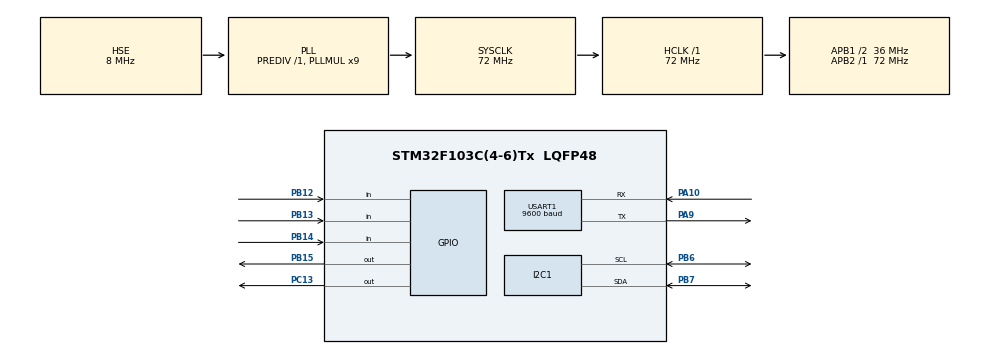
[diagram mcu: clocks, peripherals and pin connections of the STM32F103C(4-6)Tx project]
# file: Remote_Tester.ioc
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I2C1.I2C_Mode=I2C_Fast
Mcu.Family=STM32F1
Mcu.Name=STM32F103C(4-6)Tx
Mcu.Package=LQFP48
NVIC.PriorityGroup=NVIC_PRIORITYGROUP_4
NVIC.USART1_IRQn=true\:0\:0\:false\:false\:true\:true\:true\:true
PA10.Mode=Asynchronous
PA10.Signal=USART1_RX
PA13.Mode=Serial_Wire
PA13.Signal=SYS_JTMS-SWDIO
PA14.Mode=Serial_Wire
PA14.Signal=SYS_JTCK-SWCLK
PA9.Mode=Asynchronous
PA9.Signal=USART1_TX
PB12.Signal=GPIO_Input
PB13.Signal=GPIO_Input
PB14.Signal=GPIO_Input
PB15.Signal=GPIO_Output
PB6.Mode=I2C
PB6.Signal=I2C1_SCL
PB7.Mode=I2C
PB7.Signal=I2C1_SDA
PC13-TAMPER-RTC.Signal=GPIO_Output
PC14-OSC32_IN.Mode=LSE-External-Oscillator
PC14-OSC32_IN.Signal=RCC_OSC32_IN
PC15-OSC32_OUT.Mode=LSE-External-Oscillator
PC15-OSC32_OUT.Signal=RCC_OSC32_OUT
PD0-OSC_IN.Mode=HSE-External-Oscillator
PD0-OSC_IN.Signal=RCC_OSC_IN
PD1-OSC_OUT.Mode=HSE-External-Oscillator
PD1-OSC_OUT.Signal=RCC_OSC_OUT
ProjectManager.HeapSize=0x200
ProjectManager.StackSize=0x400
ProjectManager.TargetToolchain=STM32CubeIDE
RCC.AHBFreq_Value=72000000
RCC.APB1CLKDivider=RCC_HCLK_DIV2
RCC.APB1Freq_Value=36000000
RCC.APB1TimFreq_Value=72000000
RCC.APB2Freq_Value=72000000
RCC.APB2TimFreq_Value=72000000
RCC.HCLKFreq_Value=72000000
RCC.PLLMUL=RCC_PLL_MUL9
RCC.PLLSourceVirtual=RCC_PLLSOURCE_HSE
RCC.RTCClockSelection=RCC_RTCCLKSOURCE_LSE
RCC.SYSCLKFreq_VALUE=72000000
RCC.SYSCLKSource=RCC_SYSCLKSOURCE_PLLCLK
RCC.USBFreq_Value=72000000
RTC.Format=RTC_FORMAT_BIN
USART1.BaudRate=9600
USART1.VirtualMode=VM_ASYNC
VP_CRC_VS_CRC.Mode=CRC_Activate
VP_RTC_No_RTC_Output.Mode=RTC_OUT_NO
VP_RTC_VS_RTC_Activate.Mode=RTC_Enabled
VP_RTC_VS_RTC_Calendar.Mode=RTC_Calendar
board=custom

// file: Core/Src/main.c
/* USER CODE BEGIN Header */
/**
  ******************************************************************************
  * @file           : main.c
  * @brief          : Main program body
  ******************************************************************************
  * @attention
  *
  * Copyright (c) 2023 STMicroelectronics.
  * All rights reserved.
  *
  * This software is licensed under terms that can be found in the LICENSE file
  * in the root directory of this software component.
  * If no LICENSE file comes with this software, it is provided AS-IS.
  *
  ******************************************************************************
  */
/* USER CODE END Header */
#include "main.h"

/* USER CODE BEGIN Includes */
#include "ssd1306_images.h"
/* USER CODE END Includes */

/* USER CODE BEGIN PD */
#define REG_SET_PRESS                BKP->DR1
#define REG_SET_MAXERR               BKP->DR2
#define REG_CUR_PRESS                BKP->DR3
#define REG_CUR_ERR                  BKP->DR4

#define VERTICAL_LINE_X             110
#define HORIZONTAL_LINE_Y           19
#define X_ICON_BEGIN           		112
#define Y_ICON_BEGIN          		8
#define DEFAULT_PRESS_COUNTER  		10000
#define DEFAULT_MAX_ERROR_COUNT     DEFAULT_PRESS_COUNTER / 100

#define LED_write(state)            HAL_GPIO_WritePin(GPIOC, GPIO_PIN_13, !state);
/* USER CODE END PD */

CRC_HandleTypeDef hcrc;

I2C_HandleTypeDef hi2c1;

RTC_HandleTypeDef hrtc;

UART_HandleTypeDef huart1;

/* USER CODE BEGIN PV */
TESTER_STATE testerState;
TESTER_DATA gTesterCurData;
TESTER_DATA gTesterPrevData;

RTC_TimeTypeDef sTime = {0};
RTC_DateTypeDef DateToUpdate = {0};
ERROR_LOG errorLog[DEFAULT_MAX_ERROR_COUNT];

char trans_str[64] = {0,};
char recieve_str[8] = {0,};
char request_form[8] = "1";

uint32_t res_addr = 0;
uint32_t dataInSeconds = 0;
uint16_t buffsize;
/* USER CODE END PV */

void SystemClock_Config(void);
static void MX_GPIO_Init(void);
static void MX_I2C1_Init(void);
static void MX_USART1_UART_Init(void);
static void MX_RTC_Init(void);
static void MX_CRC_Init(void);
/* USER CODE BEGIN PFP */
static void BKP_Init(void);

void clear_text(uint8_t x, uint8_t y, uint8_t lenght, FontDef font);
void clear_icon(void);
void setup_label(LABEL *Label, uint8_t x, uint8_t y, char str[]);
void ssd1306_WriteUint(LABEL *Label, uint16_t val, FontDef font);
void DrawResetScreen(void);
void DrawLinesAndLabels(LABEL *LabelClick, LABEL *LabelError);
void CreateErrorLog(ERROR_LOG *er);
void UartSendErrorLog(ERROR_LOG *er);
void configRegSave(void);
/* USER CODE END PFP */

int main(void)
{

  /* MCU Configuration--------------------------------------------------------*/

  /* Reset of all peripherals, Initializes the Flash interface and the Systick. */
  HAL_Init();

  /* Configure the system clock */
  SystemClock_Config();

  /* USER CODE BEGIN SysInit */
	uint16_t test;   //FIXME
	uint8_t i;
	uint32_t waitCounter;
	uint8_t needToRedrawIcon = 1;

	uint8_t LongPressCount = 0;
	uint8_t _isreset = 0 ;

  /* USER CODE END SysInit */

  /* Initialize all configured peripherals */
  MX_GPIO_Init();
  MX_I2C1_Init();
  MX_USART1_UART_Init();
  MX_RTC_Init();
  MX_CRC_Init();
  /* USER CODE BEGIN 2 */
	Buttons_Init();
	ssd1306_Init();
	BKP_Init();

	gTesterCurData.settings.startPressCount = REG_SET_PRESS;
	gTesterCurData.settings.maxErrorCount = REG_SET_MAXERR;
//	gTesterCurData.settings.maxErrorCount = DEFAULT_MAX_ERROR_COUNT;
//	gTesterCurData.settings.startPressCount = DEFAULT_PRESS_COUNTER;
	//	configRegSave();

	//	gTesterCurData.status.pressCount = gTesterCurData.settings.startPressCount;
	gTesterCurData.status.pressCount = REG_CUR_PRESS;
	gTesterCurData.status.errorCount = REG_CUR_ERR;
	if (gTesterCurData.status.errorCount != 0){
		  buffsize = gTesterCurData.status.errorCount*4 + 1;
		  res_addr = flash_search_adress(STARTADDR, buffsize * DATAWIDTH);
		  myBuf_t rdata[buffsize];
		  read_last_data_in_flash(rdata, buffsize);
		  for (i = 0; i < gTesterCurData.status.errorCount; i++){
			  errorLog[i].failedPressNumber = rdata[i * 4];
			  errorLog[i].errorTime.Hours = rdata[(i * 4) + 1];
			  errorLog[i].errorTime.Minutes = rdata[(i * 4) + 2];
			  errorLog[i].errorTime.Seconds = rdata[(i * 4) + 3];
		  }
	}
	if (gTesterCurData.status.errorCount > gTesterCurData.settings.maxErrorCount)
		testerState = STATE_FAILURE;
	else
		testerState = (gTesterCurData.status.pressCount == gTesterCurData.settings.startPressCount ? STATE_CONFIG : STATE_PAUSE);

	HAL_GPIO_WritePin(GPIOB, GPIO_PIN_15, RESET);

	LABEL label_clicks;
	LABEL label_clickCount;
	LABEL label_errors;
	LABEL label_errorCount;

	setup_label(&label_clicks, 0, 6, "clicks");
	setup_label(&label_errors, 0, 23, "errors:");
	setup_label(&label_clickCount, 42, 0, "not set");
	setup_label(&label_errorCount, 42, 22, "not set");

	LED_write(0);
//	HAL_UART_Receive_IT(&huart1, (uint8_t*)&recieve_str, 1);
	HAL_RTC_GetDateFromRegister(&hrtc, &dataInSeconds);
	HAL_RTC_GetTime(&hrtc, &sTime, dataInSeconds, RTC_FORMAT_BIN); // RTC_FORMAT_BIN , RTC_FORMAT_BCD
	HAL_RTC_GetDate(&hrtc, &DateToUpdate, dataInSeconds, RTC_FORMAT_BIN);
  /* USER CODE END 2 */

  /* Infinite loop */
  /* USER CODE BEGIN WHILE */
  while (1)
  {
	  switch(testerState){
	  	  case STATE_CONFIG:
	  		  if(needToRedrawIcon){
	  			  needToRedrawIcon = 0;

	  			  DrawLinesAndLabels(&label_clicks, &label_errors);
	  			  ssd1306_WriteUint(&label_clickCount, gTesterCurData.status.pressCount, Font_11x18);
	  			  ssd1306_WriteUint(&label_errorCount, gTesterCurData.status.errorCount, Font_6x8);
	  			  ssd1306_DrawBitmap(X_ICON_BEGIN, Y_ICON_BEGIN, CONFIG_IMG, CONFIG_IMG_WIDTH, CONFIG_IMG_HEIGHT, White);
				  ssd1306_UpdateScreen();
	  		  }
	  		  break;
	  	  case STATE_PRESS:
	  		  if(needToRedrawIcon){
	  			  needToRedrawIcon = 0;
	  			  clear_icon();
	  			  ssd1306_UpdateScreen();
	  		  }
	  		if (gTesterCurData.status.pressCount != 0){
				HAL_GPIO_WritePin(GPIOB, GPIO_PIN_15, SET);   //Activating press finger
				testerState = STATE_WAIT;
				waitCounter = HAL_GetTick();
	  		}
	  		else{
	  			testerState = STATE_FINISH;
	  			break;
	  		}

	  		  HAL_Delay(10);
	  //		  break;
	  	  case STATE_WAIT:

	  		  if (HAL_GPIO_ReadPin(GPIOB, GPIO_PIN_14) != SET){
			  	  if((HAL_GetTick() - waitCounter) > 1000) // интервал  1сек
			  	  {
			  		  //Finger aren't working correctly
			  		  //Hardware error => stops cycle
			  		  snprintf(trans_str, 63, "Finger out of order");
			  		  HAL_UART_Transmit(&huart1, (uint8_t*)trans_str, strlen(trans_str), 1000);
			  		  testerState = STATE_CONFIG;
			  		  needToRedrawIcon = 1;
			  	  }
	  		  }
			  else{
				  if(HAL_GPIO_ReadPin(GPIOB, GPIO_PIN_13) != SET){  //FIXME: В итогой версии != RESET, т.к. нажатие будет прижимать линию к земле
					  LED_write(1);
					  if ((HAL_GetTick() - waitCounter) > 1200) // интервал  1,2сек
					  {
						  //Finger working correctly
						  //No response from button
						  //Register error and move on
						  LED_write(0);
						  snprintf(trans_str, 63, "No response from button\n\r");
						  //testing purpose only
						  HAL_RTC_GetTime(&hrtc, &sTime, dataInSeconds, RTC_FORMAT_BIN); // RTC_FORMAT_BIN , RTC_FORMAT_BCD
						   snprintf(trans_str, 63, "Time %d:%d:%d\n", sTime.Hours, sTime.Minutes, sTime.Seconds);
						   HAL_UART_Transmit(&huart1, (uint8_t*)trans_str, strlen(trans_str), 1000);

						   HAL_RTC_GetDate(&hrtc, &DateToUpdate, dataInSeconds, RTC_FORMAT_BIN);
						   snprintf(trans_str, 63, "Date %d-%d-20%d\n", DateToUpdate.Date, DateToUpdate.Month, DateToUpdate.Year);
						   HAL_UART_Transmit(&huart1, (uint8_t*)trans_str, strlen(trans_str), 1000);
						  //end of test
						  HAL_UART_Transmit(&huart1, (uint8_t*)trans_str, strlen(trans_str), 1000);
						  CreateErrorLog(&errorLog[0]);
						  UartSendErrorLog(&errorLog[0]);

						  if (gTesterCurData.status.errorCount > gTesterCurData.settings.maxErrorCount){
							  LED_write(0);
							  testerState = STATE_FAILURE;
							  needToRedrawIcon = 1;
						  }
						  else
							  testerState = STATE_PRESS;
					  }
				  }
				  else{
					  LED_write(0);
					  gTesterCurData.status.pressCount--;
					  HAL_GPIO_WritePin(GPIOB, GPIO_PIN_15, RESET);
					  testerState = STATE_PRESS;
					  HAL_Delay(10);
				  }
			  }

	  		  break;
	  	  case STATE_PAUSE:
	  		  if(needToRedrawIcon){
				needToRedrawIcon = 0;
				DrawLinesAndLabels(&label_clicks, &label_errors);
				ssd1306_WriteUint(&label_clickCount, gTesterCurData.status.pressCount, Font_11x18);
				ssd1306_WriteUint(&label_errorCount, gTesterCurData.status.errorCount, Font_6x8);
				ssd1306_DrawBitmap(X_ICON_BEGIN + 3, Y_ICON_BEGIN, PAUSE_IMG, PAUSE_IMG_WIDTH, PAUSE_IMG_HEIGHT, White);
				ssd1306_UpdateScreen();
	  		  }
	  		  HAL_Delay(1);
	  		  break;

	  	  case STATE_FINISH:
	  		  HAL_Delay(1);
	  		  break;

	  	  case STATE_FAILURE:
	  		  if (needToRedrawIcon)
	  		  {
	  			memcpy(&gTesterPrevData.status, &gTesterCurData.status, sizeof(gTesterPrevData.status));
	  			ssd1306_Fill(Black);
				ssd1306_DrawBitmap(X_ICON_BEGIN, Y_ICON_BEGIN, ALERT_IMG, ALERT_IMG_WIDTH, RESET_IMG_HEIGHT, White);
				ssd1306_SetCursor(10, 8);
				ssd1306_WriteString("Error", Font_11x18, White);
				ssd1306_UpdateScreen();
				needToRedrawIcon = 0;

				waitCounter = HAL_GetTick();
	  		  }
	  		  else
	  			  HAL_Delay(1);
	  		  break;

	  	  };

	  //	  HAL_GPIO_TogglePin(GPIOA, GPIO_PIN_1);
	  	  if (testerState != STATE_CONFIG){
	  		  if(gButtons.btnOk.click && testerState != STATE_FAILURE){
	  			  testerState = (testerState == STATE_PAUSE ? STATE_PRESS : STATE_PAUSE);
	  			  needToRedrawIcon = 1;
	  		  }
	  	  }
	  	  else if(gButtons.btnOk.click){
	  		  testerState = STATE_PRESS;
	  		  needToRedrawIcon = 1;
	  		  REG_SET_PRESS = gTesterCurData.settings.startPressCount;
	  		  REG_SET_MAXERR = gTesterCurData.settings.maxErrorCount;
	  	  }

		if (gButtons.btnOk.longPress && !_isreset){

			if(LongPressCount == 0)
			{
				testerState = STATE_PAUSE;
				DrawResetScreen();
				waitCounter = HAL_GetTick();
				LongPressCount++;
			}

			if ((HAL_GetTick() - waitCounter) > 500) // интервал  0,5сек
			{
				ssd1306_FillRectangle(10, 8, 10 + (int)(LongPressCount * 15), 16, White);
			    LongPressCount++;
			    waitCounter = HAL_GetTick();
//				ssd1306_FillRectangle(10, 8, 10 + (int)(LongPressCount - 1) * 15, 16, White);
				ssd1306_UpdateScreen();
			}
			if(LongPressCount == 6){
				testerState = STATE_CONFIG;
				needToRedrawIcon = 1;
				gTesterCurData.status.pressCount = gTesterCurData.settings.startPressCount;
				gTesterCurData.status.errorCount = 0;
				gTesterPrevData.val = 0;

				_isreset = 1;
			}
		}
		else if(gButtons.btnOk.longPressEnd){
			LongPressCount = 0;
			if(_isreset)
				_isreset = 0;
			else{
				needToRedrawIcon = 1;
				if (gTesterCurData.status.errorCount > gTesterCurData.settings.maxErrorCount){
					testerState = STATE_FAILURE;
				}
				else{
					testerState = STATE_PAUSE;
					DrawLinesAndLabels(&label_clicks, &label_errors);
					ssd1306_WriteUint(&label_clickCount, gTesterCurData.status.pressCount, Font_11x18);
				    ssd1306_WriteUint(&label_errorCount, gTesterCurData.status.errorCount, Font_6x8);

				}
			}
		}
		else if(gTesterCurData.val != gTesterPrevData.val){
			HAL_RTC_GetTime(&hrtc, &sTime, dataInSeconds, RTC_FORMAT_BIN); // RTC_FORMAT_BIN , RTC_FORMAT_BCD
			HAL_RTC_GetDate(&hrtc, &DateToUpdate, dataInSeconds, RTC_FORMAT_BIN);
			snprintf(trans_str, 63, "Time %d:%d:%d\n\r", sTime.Hours, sTime.Minutes, sTime.Seconds);
			HAL_UART_Transmit(&huart1, (uint8_t*)trans_str, strlen(trans_str), 1000);

			snprintf(trans_str, 63, "Date %d-%d-20%d\n\n\r", DateToUpdate.Date, DateToUpdate.Month, DateToUpdate.Year);
			HAL_UART_Transmit(&huart1, (uint8_t*)trans_str, strlen(trans_str), 1000);

			REG_CUR_PRESS = gTesterCurData.status.pressCount;
			REG_CUR_ERR = gTesterCurData.status.errorCount;

			memcpy(&gTesterPrevData.status, &gTesterCurData.status, sizeof(gTesterPrevData.status));

			ssd1306_WriteUint(&label_clickCount, gTesterCurData.status.pressCount, Font_11x18);
			ssd1306_WriteUint(&label_errorCount, gTesterCurData.status.errorCount, Font_6x8);

//			ssd1306_WriteString(trans_str, Font_6x8, White);
//			snprintf(trans_str, 63, "clicks %d  errors %d\n\r", gTesterCurData.status.pressCount, gTesterCurData.status.errorCount);
//			HAL_UART_Transmit(&huart1, (uint8_t*)trans_str, strlen(trans_str), 1000);
//			HAL_Delay(100);
			ssd1306_UpdateScreen();
	  	  }

		Buttons_Task();

    /* USER CODE END WHILE */

  }
}

void SystemClock_Config(void)
{
  RCC_OscInitTypeDef RCC_OscInitStruct = {0};
  RCC_ClkInitTypeDef RCC_ClkInitStruct = {0};
  RCC_PeriphCLKInitTypeDef PeriphClkInit = {0};

  /** Initializes the RCC Oscillators according to the specified parameters
  * in the RCC_OscInitTypeDef structure.
  */
  RCC_OscInitStruct.OscillatorType = RCC_OSCILLATORTYPE_HSE|RCC_OSCILLATORTYPE_LSE;
  RCC_OscInitStruct.HSEState = RCC_HSE_ON;
  RCC_OscInitStruct.HSEPredivValue = RCC_HSE_PREDIV_DIV1;
  RCC_OscInitStruct.LSEState = RCC_LSE_ON;
  RCC_OscInitStruct.HSIState = RCC_HSI_ON;
  RCC_OscInitStruct.PLL.PLLState = RCC_PLL_ON;
  RCC_OscInitStruct.PLL.PLLSource = RCC_PLLSOURCE_HSE;
  RCC_OscInitStruct.PLL.PLLMUL = RCC_PLL_MUL9;
  if (HAL_RCC_OscConfig(&RCC_OscInitStruct) != HAL_OK)
  {
    Error_Handler();
  }

  /** Initializes the CPU, AHB and APB buses clocks
  */
  RCC_ClkInitStruct.ClockType = RCC_CLOCKTYPE_HCLK|RCC_CLOCKTYPE_SYSCLK
                              |RCC_CLOCKTYPE_PCLK1|RCC_CLOCKTYPE_PCLK2;
  RCC_ClkInitStruct.SYSCLKSource = RCC_SYSCLKSOURCE_PLLCLK;
  RCC_ClkInitStruct.AHBCLKDivider = RCC_SYSCLK_DIV1;
  RCC_ClkInitStruct.APB1CLKDivider = RCC_HCLK_DIV2;
  RCC_ClkInitStruct.APB2CLKDivider = RCC_HCLK_DIV1;

  if (HAL_RCC_ClockConfig(&RCC_ClkInitStruct, FLASH_LATENCY_2) != HAL_OK)
  {
    Error_Handler();
  }
  PeriphClkInit.PeriphClockSelection = RCC_PERIPHCLK_RTC;
  PeriphClkInit.RTCClockSelection = RCC_RTCCLKSOURCE_LSE;
  if (HAL_RCCEx_PeriphCLKConfig(&PeriphClkInit) != HAL_OK)
  {
    Error_Handler();
  }
}

static void MX_CRC_Init(void)
{

  hcrc.Instance = CRC;
  if (HAL_CRC_Init(&hcrc) != HAL_OK)
  {
    Error_Handler();
  }

}

static void MX_I2C1_Init(void)
{

  hi2c1.Instance = I2C1;
  hi2c1.Init.ClockSpeed = 400000;
  hi2c1.Init.DutyCycle = I2C_DUTYCYCLE_2;
  hi2c1.Init.OwnAddress1 = 0;
  hi2c1.Init.AddressingMode = I2C_ADDRESSINGMODE_7BIT;
  hi2c1.Init.DualAddressMode = I2C_DUALADDRESS_DISABLE;
  hi2c1.Init.OwnAddress2 = 0;
  hi2c1.Init.GeneralCallMode = I2C_GENERALCALL_DISABLE;
  hi2c1.Init.NoStretchMode = I2C_NOSTRETCH_DISABLE;
  if (HAL_I2C_Init(&hi2c1) != HAL_OK)
  {
    Error_Handler();
  }

}

static void MX_RTC_Init(void)
{

//  RTC_TimeTypeDef sTime = {0};
//  RTC_DateTypeDef DateToUpdate = {0};

  /** Initialize RTC Only
  */
  hrtc.Instance = RTC;
  hrtc.Init.AsynchPrediv = RTC_AUTO_1_SECOND;
  hrtc.Init.OutPut = RTC_OUTPUTSOURCE_NONE;
  if (HAL_RTC_Init(&hrtc) != HAL_OK)
  {
    Error_Handler();
  }

  /** Initialize RTC and set the Time and Date
  */
  sTime.Hours = 22;
  sTime.Minutes = 51;
  sTime.Seconds = 0;

//  if (HAL_RTC_SetTime(&hrtc, &sTime, RTC_FORMAT_BIN) != HAL_OK)
//  {
//    Error_Handler();
//  }
  DateToUpdate.WeekDay = RTC_WEEKDAY_MONDAY;
  DateToUpdate.Month = RTC_MONTH_AUGUST;
  DateToUpdate.Date = 1;
  DateToUpdate.Year = 23;

//  if (HAL_RTC_SetDateToRegister(&hrtc, &DateToUpdate, RTC_FORMAT_BIN) != HAL_OK)
//  {
//    Error_Handler();
//  }

}

static void MX_USART1_UART_Init(void)
{

  huart1.Instance = USART1;
  huart1.Init.BaudRate = 9600;
  huart1.Init.WordLength = UART_WORDLENGTH_8B;
  huart1.Init.StopBits = UART_STOPBITS_1;
  huart1.Init.Parity = UART_PARITY_NONE;
  huart1.Init.Mode = UART_MODE_TX_RX;
  huart1.Init.HwFlowCtl = UART_HWCONTROL_NONE;
  huart1.Init.OverSampling = UART_OVERSAMPLING_16;
  if (HAL_UART_Init(&huart1) != HAL_OK)
  {
    Error_Handler();
  }

}

static void MX_GPIO_Init(void)
{
  GPIO_InitTypeDef GPIO_InitStruct = {0};

  /* GPIO Ports Clock Enable */
  __HAL_RCC_GPIOC_CLK_ENABLE();
  __HAL_RCC_GPIOD_CLK_ENABLE();
  __HAL_RCC_GPIOB_CLK_ENABLE();
  __HAL_RCC_GPIOA_CLK_ENABLE();

  /*Configure GPIO pin Output Level */
  HAL_GPIO_WritePin(GPIOC, GPIO_PIN_13, GPIO_PIN_RESET);

  /*Configure GPIO pin Output Level */
  HAL_GPIO_WritePin(GPIOB, GPIO_PIN_15, GPIO_PIN_RESET);

  /*Configure GPIO pin : PC13 */
  GPIO_InitStruct.Pin = GPIO_PIN_13;
  GPIO_InitStruct.Mode = GPIO_MODE_OUTPUT_PP;
  GPIO_InitStruct.Pull = GPIO_NOPULL;
  GPIO_InitStruct.Speed = GPIO_SPEED_FREQ_LOW;
  HAL_GPIO_Init(GPIOC, &GPIO_InitStruct);

  /*Configure GPIO pins : PB12 PB13 PB14 */
  GPIO_InitStruct.Pin = GPIO_PIN_12|GPIO_PIN_13|GPIO_PIN_14;
  GPIO_InitStruct.Mode = GPIO_MODE_INPUT;
  GPIO_InitStruct.Pull = GPIO_NOPULL;
  HAL_GPIO_Init(GPIOB, &GPIO_InitStruct);

  /*Configure GPIO pin : PB15 */
  GPIO_InitStruct.Pin = GPIO_PIN_15;
  GPIO_InitStruct.Mode = GPIO_MODE_OUTPUT_PP;
  GPIO_InitStruct.Pull = GPIO_NOPULL;
  GPIO_InitStruct.Speed = GPIO_SPEED_FREQ_LOW;
  HAL_GPIO_Init(GPIOB, &GPIO_InitStruct);

}

/* USER CODE BEGIN 4 */

static void BKP_Init(void){
	RCC->APB1ENR |= RCC_APB1ENR_PWREN | RCC_APB1ENR_BKPEN;
}

void HAL_UART_RxCpltCallback(UART_HandleTypeDef *huart)
{
          if(huart == &huart1)
          {
        	  if (strcmp (recieve_str, request_form)==0){
				  snprintf(trans_str, 63, "Request received\n\r");
				  HAL_UART_Transmit(&huart1, (uint8_t*)&trans_str, 1, 1000);
        	  }
			  HAL_UART_Receive_IT(&huart1, (uint8_t*)&recieve_str, 1);
          }
}

//void HAL_TIM_PeriodElapsedCallback(TIM_HandleTypeDef* htim){
//
//}

void clear_text(uint8_t x, uint8_t y, uint8_t length, FontDef font){
	ssd1306_FillRectangle(x, y, x + length*font.FontWidth,
					  y + font.FontHeight, Black);
}

void clear_icon(){
	ssd1306_FillRectangle(X_ICON_BEGIN, Y_ICON_BEGIN,
					  X_ICON_BEGIN + 16, Y_ICON_BEGIN + 16, Black);
}

void setup_label(LABEL *Label, uint8_t x, uint8_t y, char str[]){
	Label->start_x = x;
	Label->start_y = y;
	snprintf(Label->label, LABEL_MAX_LENGTH, str);

}

void ssd1306_WriteUint(LABEL *Label, uint16_t val, FontDef font){
	snprintf(Label->label, LABEL_MAX_LENGTH, "%d", val);
	clear_text(Label->start_x, Label->start_y, 6, font);
	ssd1306_SetCursor(Label->start_x, Label->start_y);
	ssd1306_WriteString(Label->label, font, White);

}

void DrawResetScreen(void){
	ssd1306_Fill(Black);
	ssd1306_DrawBitmap(X_ICON_BEGIN, Y_ICON_BEGIN, RESET_IMG, RESET_IMG_WIDTH, RESET_IMG_HEIGHT, White);
	ssd1306_DrawRectangle(10, 8, 85, 16, White);
	ssd1306_UpdateScreen();
}

void DrawLinesAndLabels(LABEL *LabelClick, LABEL *LabelError){
	ssd1306_Fill(Black);

	ssd1306_SetCursor(LabelClick->start_x, LabelClick->start_y);
	ssd1306_WriteString(LabelClick->label, Font_6x8, White);

	ssd1306_SetCursor(LabelError->start_x, LabelError->start_y);
	ssd1306_WriteString(LabelError->label, Font_6x8, White);

	ssd1306_Line(0, HORIZONTAL_LINE_Y, VERTICAL_LINE_X, HORIZONTAL_LINE_Y, White);
	ssd1306_Line(VERTICAL_LINE_X, 0, VERTICAL_LINE_X, 32, White);

	ssd1306_UpdateScreen();
}

void CreateErrorLog(ERROR_LOG *er){
	  uint8_t i;
	  er = er + gTesterCurData.status.errorCount;
	  er->failedPressNumber =  gTesterCurData.status.pressCount;
	  HAL_RTC_GetTime(&hrtc, &er->errorTime, dataInSeconds, RTC_FORMAT_BIN);

	  er = er - gTesterCurData.status.errorCount;
	  gTesterCurData.status.errorCount++;

	  buffsize = gTesterCurData.status.errorCount*4 + 1;
	  res_addr = flash_search_adress(STARTADDR, buffsize * DATAWIDTH);
	  myBuf_t wdata[buffsize];
	  for (i = 0; i < buffsize - 1; i = i+4){
		  wdata[i] = er->failedPressNumber;
		  wdata[i + 1] = er->errorTime.Hours;
		  wdata[i + 2] = er->errorTime.Minutes;
		  wdata[i + 3] = er->errorTime.Seconds;
		  wdata[i + 4] = 0x00;
		  er++;
	  }
	  write_to_flash(wdata, buffsize);
}

void UartSendErrorLog(ERROR_LOG *er){
	uint8_t i;
	for (i = 0 ; i < gTesterCurData.status.errorCount; i++){
		snprintf(trans_str, 63, "Error on press %d at %d:%d:%d\n\r", er->failedPressNumber,
				er->errorTime.Hours, er->errorTime.Minutes, er->errorTime.Seconds);
		HAL_UART_Transmit(&huart1, (uint8_t*)trans_str, strlen(trans_str), 1000);
		er++;
	}
//	snprintf(trans_str, 63, "Time %d:%d:%d\n", sTime.Hours, sTime.Minutes, sTime.Seconds);
//	HAL_UART_Transmit(&huart1, (uint8_t*)trans_str, strlen(trans_str), 1000);
}

//void configRegSave(void){
//	WRITE_REG(SETTINGS_STARTPRESSCOUNT_REG, gTesterCurData.settings.startPressCount);
//	WRITE_REG(SETTINGS_MAXERRORS_REG, gTesterCurData.settings.maxErrorCount);
//}

/* USER CODE END 4 */

void Error_Handler(void)
{
  __disable_irq();
  while (1)
  {
  }
}
